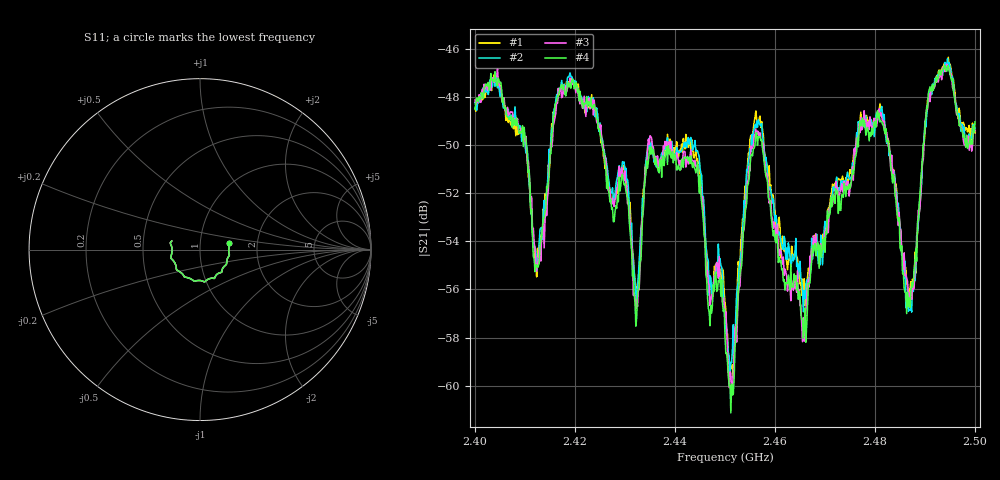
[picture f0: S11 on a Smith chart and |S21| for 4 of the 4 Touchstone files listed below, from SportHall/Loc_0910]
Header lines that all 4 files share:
# Hz S RI R
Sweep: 2.4 GHz to 2.5 GHz
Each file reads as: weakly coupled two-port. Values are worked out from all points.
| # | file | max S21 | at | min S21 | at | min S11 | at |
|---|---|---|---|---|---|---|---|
| 1 | Lab_139_2Ch1.s2p | -46.35 dB | 2.4947 GHz | -59.7 dB | 2.4517 GHz | -15.7 dB | 2.4932 GHz |
| 2 | Lab_139_3Ch1.s2p | -46.41 dB | 2.4945 GHz | -59.7 dB | 2.451 GHz | -15.7 dB | 2.4932 GHz |
| 3 | Lab_139_7Ch1.s2p | -46.63 dB | 2.4943 GHz | -60.2 dB | 2.4513 GHz | -15.7 dB | 2.4932 GHz |
| 4 | Lab_139_8Ch1.s2p | -46.68 dB | 2.494 GHz | -61.1 dB | 2.4512 GHz | -15.7 dB | 2.4928 GHz |
